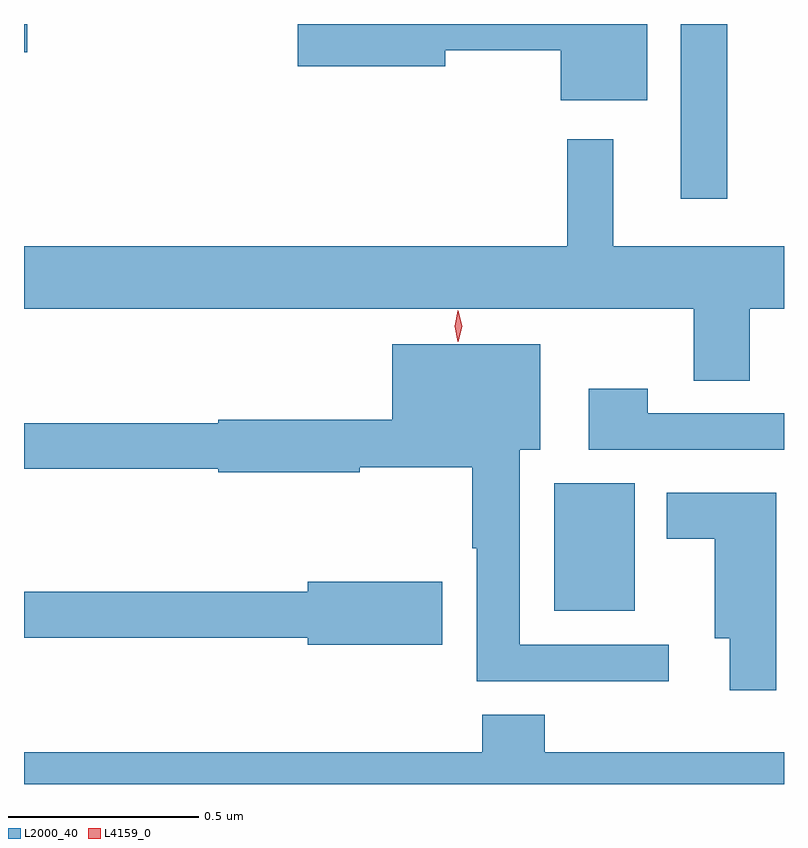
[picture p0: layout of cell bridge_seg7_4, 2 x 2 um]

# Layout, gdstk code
import gdstk
lib = gdstk.Library(unit=1e-6, precision=1e-09)
def R(c, l, rs):  # rectangles x0, y0, x1, y1
    for r in rs: c.add(gdstk.rectangle(r[:2], r[2:], *l))
def P(c, l, *ps):  # polygons
    for p in ps: c.add(gdstk.Polygon(p, *l))
L2000_40 = (2000, 40)
L4159_0 = (4159, 0)

bridge_seg7_4 = lib.new_cell('bridge_seg7_4')
R(bridge_seg7_4, L2000_40, [(1036.028,1063.757,1036.24,1064.092), (1036.361,1064.841,1036.483,1065.301), (1034.633,1065.227,1034.641,1065.301)])
P(bridge_seg7_4, L2000_40, [(1036.273,1065.301),(1035.353,1065.301),(1035.353,1065.19),(1035.742,1065.19),(1035.742,1065.232),(1036.046,1065.232),(1036.046,1065.101),(1036.273,1065.101)],
  [(1036.543,1064.552),(1036.633,1064.552),(1036.633,1064.716),(1036.183,1064.716),(1036.183,1064.998),(1036.062,1064.998),(1036.062,1064.716),(1034.633,1064.716),(1034.633,1064.552),(1036.396,1064.552),(1036.396,1064.362),(1036.543,1064.362)],
  [(1036.33,1063.668),(1035.937,1063.668),(1035.937,1064.18),(1035.991,1064.18),(1035.991,1064.458),(1035.602,1064.458),(1035.602,1064.259),(1035.144,1064.259),(1035.144,1064.251),(1034.633,1064.251),(1034.633,1064.13),(1035.144,1064.13),(1035.144,1064.122),(1035.516,1064.122),(1035.516,1064.134),(1035.812,1064.134),(1035.812,1063.921),(1035.824,1063.921),(1035.824,1063.571),(1036.33,1063.571)],
  [(1036.633,1064.277),(1036.275,1064.277),(1036.275,1064.341),(1036.119,1064.341),(1036.119,1064.181),(1036.633,1064.181)],
  [(1036.612,1064.068),(1036.325,1064.068),(1036.325,1063.946),(1036.451,1063.946),(1036.451,1063.685),(1036.49,1063.685),(1036.49,1063.548),(1036.612,1063.548)],
  [(1035.733,1063.833),(1035.38,1063.833),(1035.38,1063.807),(1034.633,1063.807),(1034.633,1063.686),(1035.38,1063.686),(1035.38,1063.667),(1035.733,1063.667)],
  [(1036.633,1063.384),(1036.004,1063.384),(1036.004,1063.483),(1035.839,1063.483),(1035.839,1063.384),(1034.633,1063.384),(1034.633,1063.301),(1036.633,1063.301)])
P(bridge_seg7_4, L4159_0, [(1035.775,1064.465),(1035.766,1064.506),(1035.775,1064.547),(1035.775,1064.548),(1035.776,1064.547),(1035.786,1064.506),(1035.776,1064.465),(1035.776,1064.465)])

lib.write_gds('bridge_seg7_4.gds')
